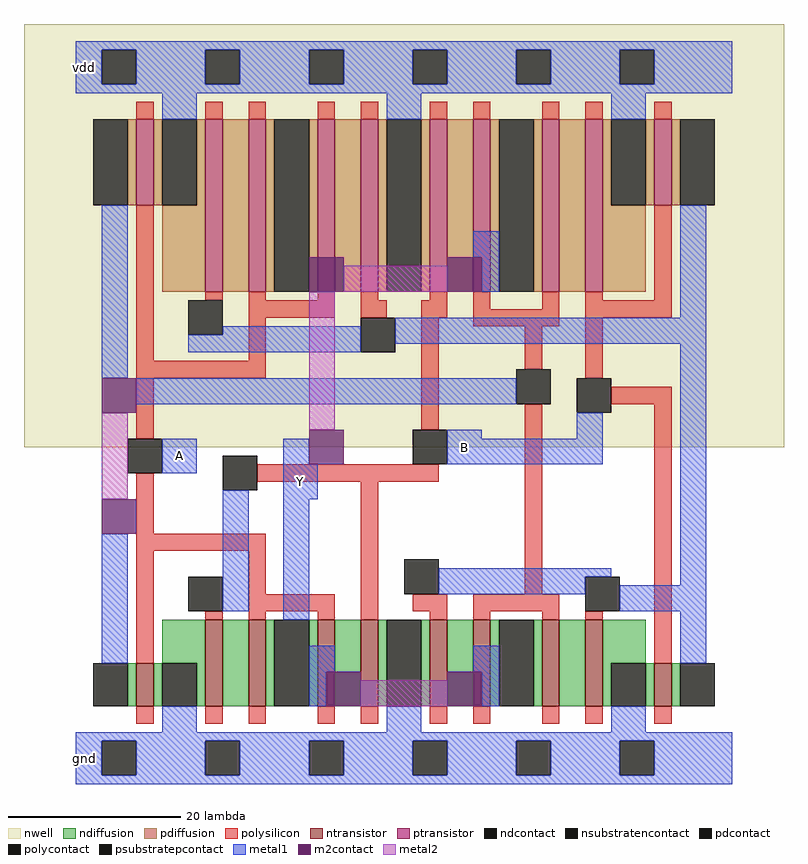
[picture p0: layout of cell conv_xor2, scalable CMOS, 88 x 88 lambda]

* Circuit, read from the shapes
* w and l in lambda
.subckt conv_xor2 A B Y vdd gnd
M1 gnd A n1 gnd nfet w=5 l=2
M2 n2 B gnd gnd nfet w=10 l=2
M3 Y A n2 gnd nfet w=10 l=2
M4 n3 A Y gnd nfet w=10 l=2
M5 gnd B n3 gnd nfet w=10 l=2
M6 n4 n5 gnd gnd nfet w=10 l=2
M7 Y n1 n4 gnd nfet w=10 l=2
M8 n6 n1 Y gnd nfet w=10 l=2
M9 gnd n5 n6 gnd nfet w=10 l=2
M10 n5 B gnd gnd nfet w=5 l=2
M11 vdd A n1 vdd pfet w=10 l=2
M12 n7 n5 vdd vdd pfet w=20 l=2
M13 Y A n7 vdd pfet w=20 l=2
M14 n8 A Y vdd pfet w=20 l=2
M15 vdd n5 n8 vdd pfet w=20 l=2
M16 n9 B vdd vdd pfet w=20 l=2
M17 Y n1 n9 vdd pfet w=20 l=2
M18 n10 n1 Y vdd pfet w=20 l=2
M19 vdd B n10 vdd pfet w=20 l=2
M20 n5 B vdd vdd pfet w=10 l=2
.ends

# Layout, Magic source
magic
tech scmos
<< nwell >>
rect -6 36 82 85
<< ndiffusion >>
rect 6 6 7 11
rect 9 6 10 11
rect 14 6 15 11
rect 17 6 20 16
rect 22 6 23 16
rect 27 6 28 16
rect 30 6 33 16
rect 35 6 36 16
rect 40 6 41 16
rect 43 6 46 16
rect 48 6 49 16
rect 53 6 54 16
rect 56 6 59 16
rect 61 6 62 11
rect 66 6 67 11
rect 69 6 70 11
rect 10 11 15 16
rect 61 11 66 16
<< pdiffusion >>
rect 10 54 15 64
rect 17 54 20 74
rect 22 54 23 74
rect 27 54 28 74
rect 30 54 33 74
rect 35 54 36 74
rect 40 54 41 74
rect 43 54 46 74
rect 48 54 49 74
rect 53 54 54 74
rect 56 54 59 74
rect 61 54 66 64
rect 6 64 7 74
rect 9 64 10 74
rect 14 64 15 74
rect 61 64 62 74
rect 66 64 67 74
rect 69 64 70 74
<< polysilicon >>
rect 7 4 9 6
rect 15 4 17 6
rect 20 4 22 6
rect 28 4 30 6
rect 33 4 35 6
rect 41 4 43 6
rect 46 4 48 6
rect 54 4 56 6
rect 59 4 61 6
rect 67 4 69 6
rect 7 11 9 24
rect 67 11 69 41
rect 15 16 17 17
rect 20 16 22 17
rect 28 16 30 17
rect 33 16 35 32
rect 41 16 43 17
rect 46 16 48 17
rect 54 16 56 17
rect 59 16 61 17
rect 20 17 30 19
rect 39 17 43 19
rect 46 17 56 19
rect 20 19 22 24
rect 52 19 54 41
rect 7 24 22 26
rect 7 26 9 33
rect 21 32 42 34
rect 7 37 9 44
rect 40 38 42 51
rect 62 41 69 43
rect 7 44 22 46
rect 59 44 61 51
rect 52 45 54 50
rect 7 46 9 64
rect 20 46 22 51
rect 46 50 56 52
rect 20 51 30 53
rect 33 51 36 53
rect 40 51 43 53
rect 59 51 69 53
rect 46 52 48 54
rect 54 52 56 54
rect 15 53 17 54
rect 20 53 22 54
rect 28 53 30 54
rect 33 53 35 54
rect 41 53 43 54
rect 59 53 61 54
rect 67 53 69 64
rect 7 74 9 76
rect 15 74 17 76
rect 20 74 22 76
rect 28 74 30 76
rect 33 74 35 76
rect 41 74 43 76
rect 46 74 48 76
rect 54 74 56 76
rect 59 74 61 76
rect 67 74 69 76
<< ntransistor >>
rect 7 6 9 11
rect 15 6 17 16
rect 20 6 22 16
rect 28 6 30 16
rect 33 6 35 16
rect 41 6 43 16
rect 46 6 48 16
rect 54 6 56 16
rect 59 6 61 16
rect 67 6 69 11
<< ptransistor >>
rect 15 54 17 74
rect 20 54 22 74
rect 28 54 30 74
rect 33 54 35 74
rect 41 54 43 74
rect 46 54 48 74
rect 54 54 56 74
rect 59 54 61 74
rect 7 64 9 74
rect 67 64 69 74
<< ndcontact >>
rect 2 6 6 11
rect 10 6 14 11
rect 23 6 27 16
rect 36 6 40 16
rect 49 6 53 16
rect 62 6 66 11
rect 70 6 74 11
<< pdcontact >>
rect 23 54 27 74
rect 36 54 40 74
rect 49 54 53 74
rect 2 64 6 74
rect 10 64 14 74
rect 62 64 66 74
rect 70 64 74 74
<< polycontact >>
rect 13 17 17 21
rect 59 17 63 21
rect 38 19 42 23
rect 17 31 21 35
rect 6 33 10 37
rect 39 34 43 38
rect 58 40 62 44
rect 51 41 55 45
rect 33 47 37 51
rect 13 49 17 53
<< psubstratepcontact >>
rect 3 -2 7 2
rect 15 -2 19 2
rect 27 -2 31 2
rect 39 -2 43 2
rect 51 -2 55 2
rect 63 -2 67 2
<< nsubstratencontact >>
rect 3 78 7 82
rect 15 78 19 82
rect 27 78 31 82
rect 39 78 43 82
rect 51 78 55 82
rect 63 78 67 82
<< metal1 >>
rect 0 -3 76 -2
rect 0 -2 3 2
rect 7 -2 15 2
rect 19 -2 27 2
rect 31 -2 39 2
rect 43 -2 51 2
rect 55 -2 63 2
rect 67 -2 76 2
rect 0 2 76 3
rect 10 3 14 6
rect 36 3 40 6
rect 62 3 66 6
rect 27 6 29 10
rect 47 6 49 10
rect 27 10 30 13
rect 46 10 49 13
rect 3 11 6 26
rect 70 11 73 17
rect 24 16 27 30
rect 17 17 20 31
rect 63 17 73 20
rect 42 19 59 21
rect 70 20 73 48
rect 42 21 62 22
rect 24 30 28 34
rect 10 33 14 37
rect 24 34 27 37
rect 43 34 61 37
rect 43 37 47 38
rect 58 37 61 40
rect 7 41 51 44
rect 3 44 6 64
rect 13 47 33 49
rect 37 48 73 51
rect 17 49 33 50
rect 70 51 73 64
rect 47 54 49 58
rect 46 58 49 61
rect 10 74 14 77
rect 36 74 40 77
rect 62 74 66 77
rect 0 77 76 78
rect 0 78 3 82
rect 7 78 15 82
rect 19 78 27 82
rect 31 78 39 82
rect 43 78 51 82
rect 55 78 63 82
rect 67 78 76 82
rect 0 82 76 83
<< m2contact >>
rect 29 6 33 10
rect 43 6 47 10
rect 3 26 7 30
rect 27 34 31 38
rect 3 40 7 44
rect 27 54 31 58
rect 43 54 47 58
<< metal2 >>
rect 33 6 43 9
rect 3 30 6 40
rect 27 38 30 54
rect 31 54 43 57
<< labels >>
rlabel metal1 s 10 33 14 37 0 A
port 1 nsew signal input
rlabel metal1 s 43 34 47 38 0 B
port 2 nsew signal input
rlabel metal1 s 24 30 28 34 0 Y
port 3 nsew signal output
rlabel metal1 s 0 77 2 83 0 vdd
port 4 nsew power bidirectional
rlabel metal1 s 0 -3 2 3 0 gnd
port 5 nsew ground bidirectional
<< properties >>
string FIXED_BBOX 0 0 76 80
<< end >>
